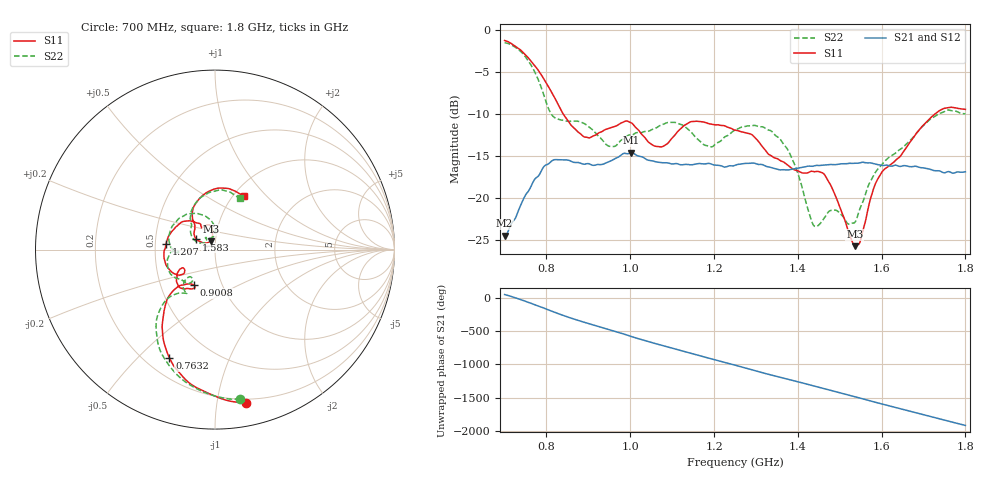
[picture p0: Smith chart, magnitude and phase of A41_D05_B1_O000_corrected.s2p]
! Created with skrf 1.9.0 (http://scikit-rf.org).
# Hz S RI R 50.0
!freq ReS11 ImS11 ReS21 ImS21 ReS12 ImS12 ReS22 ImS22
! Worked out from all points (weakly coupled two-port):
!   1601 points, 700 MHz to 1.8 GHz, reference 50 ohm
!   highest |S21| = -14.58 dB at 1.002 GHz (marker M1); lowest = -24.5 dB at 700 MHz (marker M2)
!   lowest |S11| = -25.7 dB at 1.536 GHz (marker M3), VSWR 1.11, Z = 47.6 + j4.47 ohm
!   |S11| at or under -10 dB: 840.3 MHz to 1.727 GHz (886.2 MHz wide, 69 % of centre)
!   |S22| runs from -23.4 to -1.5 dB; largest |S21 - S12| = 0.0035
!   S11 on the Smith chart (normalised r, x): 700 MHz: 0.17, -1.21; 763.2 MHz: 0.30, -0.62; 900.8 MHz: 0.74, -0.31; 1.207 GHz: 0.57, +0.04; 1.583 GHz: 0.81, +0.09; 1.8 GHz: 1.12, +0.75
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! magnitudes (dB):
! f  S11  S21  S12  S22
! 700 MHz  -1.2  -24.5  -24.3  -1.5
! 763.2 MHz  -3.7  -18.6  -18.6  -4.1
! 815.5 MHz  -7.7  -15.5  -15.5  -10.2
! 883.6 MHz  -12.4  -15.9  -15.8  -11.0
! 900.8 MHz  -12.8  -15.9  -15.9  -11.5
! 951.6 MHz  -11.6  -15.6  -15.6  -13.8
! 1.002 GHz  -11.0  -14.6  -14.7  -12.5
! 1.067 GHz  -13.9  -15.7  -15.7  -11.5
! 1.143 GHz  -10.9  -16.0  -16.0  -12.0
! 1.207 GHz  -11.3  -16.1  -16.1  -13.4
! 1.25 GHz  -11.9  -16.1  -16.0  -11.9
! 1.315 GHz  -13.8  -16.0  -16.1  -11.5
! 1.358 GHz  -15.5  -16.6  -16.6  -13.0
! 1.394 GHz  -16.7  -16.5  -16.4  -16.2
! 1.434 GHz  -16.8  -16.2  -16.1  -22.8
! 1.471 GHz  -17.8  -16.0  -16.0  -21.7
! 1.536 GHz  -25.7  -15.8  -15.8  -22.9
! 1.55 GHz  -25.0  -15.8  -15.8  -21.1
! 1.583 GHz  -18.6  -15.9  -15.9  -17.1
! 1.617 GHz  -16.2  -16.1  -16.1  -15.1
! 1.733 GHz  -9.8  -16.7  -16.7  -10.1
! 1.8 GHz  -9.4  -16.8  -16.8  -10.0
